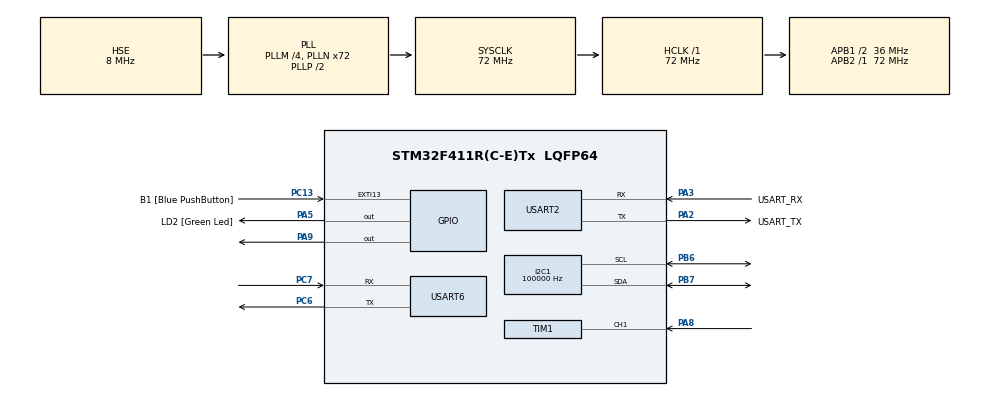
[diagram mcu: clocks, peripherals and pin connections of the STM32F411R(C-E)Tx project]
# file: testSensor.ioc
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I2C1.ClockSpeed=100000
Mcu.Family=STM32F4
Mcu.Name=STM32F411R(C-E)Tx
Mcu.Package=LQFP64
NVIC.PriorityGroup=NVIC_PRIORITYGROUP_1
NVIC.TIM1_CC_IRQn=true\:0\:0\:false\:false\:true\:true\:true\:true
NVIC.USART6_IRQn=true\:1\:0\:true\:false\:true\:true\:true\:true
PA13.GPIO_Label=TMS
PA13.Mode=Serial_Wire
PA13.Signal=SYS_JTMS-SWDIO
PA14.GPIO_Label=TCK
PA14.Mode=Serial_Wire
PA14.Signal=SYS_JTCK-SWCLK
PA2.GPIO_Label=USART_TX
PA2.Mode=Asynchronous
PA2.Signal=USART2_TX
PA3.GPIO_Label=USART_RX
PA3.Mode=Asynchronous
PA3.Signal=USART2_RX
PA5.GPIO_Label=LD2 [Green Led]
PA5.Signal=GPIO_Output
PA8.Signal=S_TIM1_CH1
PA9.Signal=GPIO_Output
PB3.GPIO_Label=SWO
PB3.Signal=SYS_JTDO-SWO
PB6.Mode=I2C
PB6.Signal=I2C1_SCL
PB7.Mode=I2C
PB7.Signal=I2C1_SDA
PC13-ANTI_TAMP.GPIO_Label=B1 [Blue PushButton]
PC13-ANTI_TAMP.GPIO_ModeDefaultEXTI=GPIO_MODE_IT_FALLING
PC13-ANTI_TAMP.Signal=GPXTI13
PC14-OSC32_IN.Signal=RCC_OSC32_IN
PC15-OSC32_OUT.Signal=RCC_OSC32_OUT
PC6.Mode=Asynchronous
PC6.Signal=USART6_TX
PC7.Mode=Asynchronous
PC7.Signal=USART6_RX
PH0\ -\ OSC_IN.Mode=HSE-External-Oscillator
PH0\ -\ OSC_IN.Signal=RCC_OSC_IN
PH1\ -\ OSC_OUT.Mode=HSE-External-Oscillator
PH1\ -\ OSC_OUT.Signal=RCC_OSC_OUT
ProjectManager.HeapSize=0x200
ProjectManager.StackSize=0x400
ProjectManager.TargetToolchain=STM32CubeIDE
RCC.48MHZClocksFreq_Value=36000000
RCC.AHBFreq_Value=72000000
RCC.APB1CLKDivider=RCC_HCLK_DIV2
RCC.APB1Freq_Value=36000000
RCC.APB1TimFreq_Value=72000000
RCC.APB2Freq_Value=72000000
RCC.APB2TimFreq_Value=72000000
RCC.CortexFreq_Value=72000000
RCC.FLatency-AdvancedSettings=FLASH_LATENCY_2
RCC.HCLKFreq_Value=72000000
RCC.HSE_VALUE=8000000
RCC.HSI_VALUE=16000000
RCC.LSE_VALUE=32768
RCC.PLLM=4
RCC.PLLN=72
RCC.PLLSourceVirtual=RCC_PLLSOURCE_HSE
RCC.SYSCLKFreq_VALUE=72000000
RCC.SYSCLKSource=RCC_SYSCLKSOURCE_PLLCLK
RCC.VCOOutputFreq_Value=144000000
SH.S_TIM1_CH1.0=TIM1_CH1,Input_Capture1_from_TI1
TIM1.Channel-Input_Capture1_from_TI1=TIM_CHANNEL_1
TIM1.Period=0xffff-1
TIM1.Prescaler=72 - 1
USART2.VirtualMode=VM_ASYNC
USART6.VirtualMode=VM_ASYNC
board=NUCLEO-F411RE

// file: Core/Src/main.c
/* USER CODE BEGIN Header */
/**
 ******************************************************************************
 * @file           : main.c
 * @brief          : Main program body
 ******************************************************************************
 * @attention
 *
 * Copyright (c) 2022 STMicroelectronics.
 * All rights reserved.
 *
 * This software is licensed under terms that can be found in the LICENSE file
 * in the root directory of this software component.
 * If no LICENSE file comes with this software, it is provided AS-IS.
 *
 ******************************************************************************
 */
/* USER CODE END Header */
#include "main.h"

/* USER CODE BEGIN Includes */
#include <string.h>
#include <stdio.h>
/* USER CODE END Includes */

I2C_HandleTypeDef hi2c1;

TIM_HandleTypeDef htim1;

UART_HandleTypeDef huart2;
UART_HandleTypeDef huart6;

/* USER CODE BEGIN PV */
char data[32] = " ";
char data1[32] = " ";
/* USER CODE END PV */

void SystemClock_Config(void);
static void MX_GPIO_Init(void);
static void MX_USART2_UART_Init(void);
static void MX_I2C1_Init(void);
static void MX_TIM1_Init(void);
static void MX_USART6_UART_Init(void);

/* USER CODE BEGIN 0 */

void delay(uint16_t time) {
	__HAL_TIM_SET_COUNTER(&htim1, 0);
	while (__HAL_TIM_GET_COUNTER (&htim1) < time)
		;
}

#define TRIG_PIN GPIO_PIN_9
#define TRIG_PORT GPIOA
#define ECHO_PIN GPIO_PIN_8
#define ECHO_PORT GPIOA
uint32_t pMillis;
uint32_t Value1 = 0;
uint32_t Value2 = 0;
uint16_t Distance = 0;  // cm
uint8_t senddata[] = "Hello World";
char senddata_2[100];
char rec;
char b[100];
int i = 0;

void HAL_UART_RxCpItCallback(UART_HandleTypeDef *huart) {
	if (rec != 13)
		b[i++] = rec;
	else if (rec == 13) {
		i = 0;
		HAL_UART_Transmit(&huart6, &b, sizeof(b), 100);
		for (int cnt = 0; cnt < sizeof(b); cnt++)
			b[cnt] = NULL;
	}
	HAL_UART_Receive_IT(&huart6, (uint8_t*) &rec, 1);
}

// Let's write the callback function

/* USER CODE END 0 */

int main(void) {

	/* MCU Configuration--------------------------------------------------------*/

	/* Reset of all peripherals, Initializes the Flash interface and the Systick. */
	HAL_Init();

	/* Configure the system clock */
	SystemClock_Config();

	/* Initialize all configured peripherals */
	MX_GPIO_Init();
	MX_USART2_UART_Init();
	MX_I2C1_Init();
	MX_TIM1_Init();
	MX_USART6_UART_Init();
	/* USER CODE BEGIN 2 */
	HAL_TIM_Base_Start(&htim1);
	HAL_GPIO_WritePin(TRIG_PORT, TRIG_PIN, GPIO_PIN_RESET); // pull the TRIG pin low
	HAL_UART_Receive_IT(&huart6, (uint8_t*) &rec, 1);
	uint8_t data_read[4];
	uint8_t data_read1[4];
	int16_t aux;
	int16_t aux1;
	int16_t ambient_temperature;
	int16_t ambient_temperature1;
	/* USER CODE END 2 */

	/* Infinite loop */
	/* USER CODE BEGIN WHILE */
	HAL_StatusTypeDef status;
	status = HAL_I2C_IsDeviceReady(&hi2c1, (0x5A << 1), 4, 100);
	if (status == HAL_OK) {
		HAL_GPIO_WritePin(GPIOA, GPIO_PIN_5, GPIO_PIN_SET);
	}
	while (1) {

		HAL_GPIO_WritePin(TRIG_PORT, TRIG_PIN, GPIO_PIN_SET); // pull the TRIG pin HIGH
		__HAL_TIM_SET_COUNTER(&htim1, 0);
		while (__HAL_TIM_GET_COUNTER (&htim1) < 10)
			;  // wait for 10 us
		HAL_GPIO_WritePin(TRIG_PORT, TRIG_PIN, GPIO_PIN_RESET); // pull the TRIG pin low

		pMillis = HAL_GetTick();
		// used this to avoid infinite while loop  (for timeout)
		// wait for the echo pin to go high
		while (!(HAL_GPIO_ReadPin(ECHO_PORT, ECHO_PIN))
				&& pMillis + 10 > HAL_GetTick())
			;
		Value1 = __HAL_TIM_GET_COUNTER(&htim1);

		pMillis = HAL_GetTick();
		// used this to avoid infinite while loop (for timeout)
		// wait for the echo pin to go low
		while ((HAL_GPIO_ReadPin(ECHO_PORT, ECHO_PIN))
				&& pMillis + 50 > HAL_GetTick())
			;
		Value2 = __HAL_TIM_GET_COUNTER(&htim1);

		Distance = (Value2 - Value1) * 0.034 / 2;

		HAL_I2C_Mem_Read(&hi2c1, (0x5A << 1), 0x06, 1, (uint8_t*) data_read, 2,
				100);

		aux = (int16_t) ((data_read[1] << 8) | data_read[0]);
		ambient_temperature = aux * 0.02 - 273.15;

		HAL_Delay(1000);

		HAL_I2C_Mem_Read(&hi2c1, (0x5A << 1), 0x07, 1, (uint8_t*) data_read1, 2,
				100);

		aux1 = (int16_t) ((data_read1[1] << 8) | data_read1[0]);

		ambient_temperature1 = aux1 * 0.02 - 273.15;

		HAL_Delay(1000);

		sprintf(data, "Ambient = %d \r\n", ambient_temperature);
		sprintf(data1, "%d %d \r\n", ambient_temperature1, Distance);
		HAL_UART_Transmit(&huart2, (uint8_t*) data, strlen(data), 1000);
		HAL_UART_Transmit(&huart2, (uint8_t*) data1, strlen(data1), 1000);
		HAL_UART_Transmit(&huart6, (uint8_t*) data1, strlen(data1), 1000);
		HAL_Delay(100);

		/* USER CODE END WHILE */

	}
}

void SystemClock_Config(void) {
	RCC_OscInitTypeDef RCC_OscInitStruct = { 0 };
	RCC_ClkInitTypeDef RCC_ClkInitStruct = { 0 };

	/** Configure the main internal regulator output voltage
	 */
	__HAL_RCC_PWR_CLK_ENABLE();
	__HAL_PWR_VOLTAGESCALING_CONFIG(PWR_REGULATOR_VOLTAGE_SCALE1);
	/** Initializes the RCC Oscillators according to the specified parameters
	 * in the RCC_OscInitTypeDef structure.
	 */
	RCC_OscInitStruct.OscillatorType = RCC_OSCILLATORTYPE_HSE;
	RCC_OscInitStruct.HSEState = RCC_HSE_ON;
	RCC_OscInitStruct.PLL.PLLState = RCC_PLL_ON;
	RCC_OscInitStruct.PLL.PLLSource = RCC_PLLSOURCE_HSE;
	RCC_OscInitStruct.PLL.PLLM = 4;
	RCC_OscInitStruct.PLL.PLLN = 72;
	RCC_OscInitStruct.PLL.PLLP = RCC_PLLP_DIV2;
	RCC_OscInitStruct.PLL.PLLQ = 4;
	if (HAL_RCC_OscConfig(&RCC_OscInitStruct) != HAL_OK) {
		Error_Handler();
	}
	/** Initializes the CPU, AHB and APB buses clocks
	 */
	RCC_ClkInitStruct.ClockType = RCC_CLOCKTYPE_HCLK | RCC_CLOCKTYPE_SYSCLK
			| RCC_CLOCKTYPE_PCLK1 | RCC_CLOCKTYPE_PCLK2;
	RCC_ClkInitStruct.SYSCLKSource = RCC_SYSCLKSOURCE_PLLCLK;
	RCC_ClkInitStruct.AHBCLKDivider = RCC_SYSCLK_DIV1;
	RCC_ClkInitStruct.APB1CLKDivider = RCC_HCLK_DIV2;
	RCC_ClkInitStruct.APB2CLKDivider = RCC_HCLK_DIV1;

	if (HAL_RCC_ClockConfig(&RCC_ClkInitStruct, FLASH_LATENCY_2) != HAL_OK) {
		Error_Handler();
	}
}

static void MX_I2C1_Init(void) {

	hi2c1.Instance = I2C1;
	hi2c1.Init.ClockSpeed = 100000;
	hi2c1.Init.DutyCycle = I2C_DUTYCYCLE_2;
	hi2c1.Init.OwnAddress1 = 0;
	hi2c1.Init.AddressingMode = I2C_ADDRESSINGMODE_7BIT;
	hi2c1.Init.DualAddressMode = I2C_DUALADDRESS_DISABLE;
	hi2c1.Init.OwnAddress2 = 0;
	hi2c1.Init.GeneralCallMode = I2C_GENERALCALL_DISABLE;
	hi2c1.Init.NoStretchMode = I2C_NOSTRETCH_DISABLE;
	if (HAL_I2C_Init(&hi2c1) != HAL_OK) {
		Error_Handler();
	}

}

static void MX_TIM1_Init(void) {

	TIM_MasterConfigTypeDef sMasterConfig = { 0 };
	TIM_IC_InitTypeDef sConfigIC = { 0 };

	htim1.Instance = TIM1;
	htim1.Init.Prescaler = 72 - 1;
	htim1.Init.CounterMode = TIM_COUNTERMODE_UP;
	htim1.Init.Period = 0xffff - 1;
	htim1.Init.ClockDivision = TIM_CLOCKDIVISION_DIV1;
	htim1.Init.RepetitionCounter = 0;
	htim1.Init.AutoReloadPreload = TIM_AUTORELOAD_PRELOAD_DISABLE;
	if (HAL_TIM_IC_Init(&htim1) != HAL_OK) {
		Error_Handler();
	}
	sMasterConfig.MasterOutputTrigger = TIM_TRGO_RESET;
	sMasterConfig.MasterSlaveMode = TIM_MASTERSLAVEMODE_DISABLE;
	if (HAL_TIMEx_MasterConfigSynchronization(&htim1, &sMasterConfig)
			!= HAL_OK) {
		Error_Handler();
	}
	sConfigIC.ICPolarity = TIM_INPUTCHANNELPOLARITY_RISING;
	sConfigIC.ICSelection = TIM_ICSELECTION_DIRECTTI;
	sConfigIC.ICPrescaler = TIM_ICPSC_DIV1;
	sConfigIC.ICFilter = 0;
	if (HAL_TIM_IC_ConfigChannel(&htim1, &sConfigIC, TIM_CHANNEL_1) != HAL_OK) {
		Error_Handler();
	}

}

static void MX_USART2_UART_Init(void) {

	huart2.Instance = USART2;
	huart2.Init.BaudRate = 115200;
	huart2.Init.WordLength = UART_WORDLENGTH_8B;
	huart2.Init.StopBits = UART_STOPBITS_1;
	huart2.Init.Parity = UART_PARITY_NONE;
	huart2.Init.Mode = UART_MODE_TX_RX;
	huart2.Init.HwFlowCtl = UART_HWCONTROL_NONE;
	huart2.Init.OverSampling = UART_OVERSAMPLING_16;
	if (HAL_UART_Init(&huart2) != HAL_OK) {
		Error_Handler();
	}

}

static void MX_USART6_UART_Init(void) {

	huart6.Instance = USART6;
	huart6.Init.BaudRate = 115200;
	huart6.Init.WordLength = UART_WORDLENGTH_8B;
	huart6.Init.StopBits = UART_STOPBITS_1;
	huart6.Init.Parity = UART_PARITY_NONE;
	huart6.Init.Mode = UART_MODE_TX_RX;
	huart6.Init.HwFlowCtl = UART_HWCONTROL_NONE;
	huart6.Init.OverSampling = UART_OVERSAMPLING_16;
	if (HAL_UART_Init(&huart6) != HAL_OK) {
		Error_Handler();
	}

}

static void MX_GPIO_Init(void) {
	GPIO_InitTypeDef GPIO_InitStruct = { 0 };

	/* GPIO Ports Clock Enable */
	__HAL_RCC_GPIOC_CLK_ENABLE();
	__HAL_RCC_GPIOH_CLK_ENABLE();
	__HAL_RCC_GPIOA_CLK_ENABLE();
	__HAL_RCC_GPIOB_CLK_ENABLE();

	/*Configure GPIO pin Output Level */
	HAL_GPIO_WritePin(GPIOA, LD2_Pin | GPIO_PIN_9, GPIO_PIN_RESET);

	/*Configure GPIO pin : B1_Pin */
	GPIO_InitStruct.Pin = B1_Pin;
	GPIO_InitStruct.Mode = GPIO_MODE_IT_FALLING;
	GPIO_InitStruct.Pull = GPIO_NOPULL;
	HAL_GPIO_Init(B1_GPIO_Port, &GPIO_InitStruct);

	/*Configure GPIO pins : LD2_Pin PA9 */
	GPIO_InitStruct.Pin = LD2_Pin | GPIO_PIN_9;
	GPIO_InitStruct.Mode = GPIO_MODE_OUTPUT_PP;
	GPIO_InitStruct.Pull = GPIO_NOPULL;
	GPIO_InitStruct.Speed = GPIO_SPEED_FREQ_LOW;
	HAL_GPIO_Init(GPIOA, &GPIO_InitStruct);

}

void Error_Handler(void) {
	__disable_irq();
	while (1) {
	}
}
